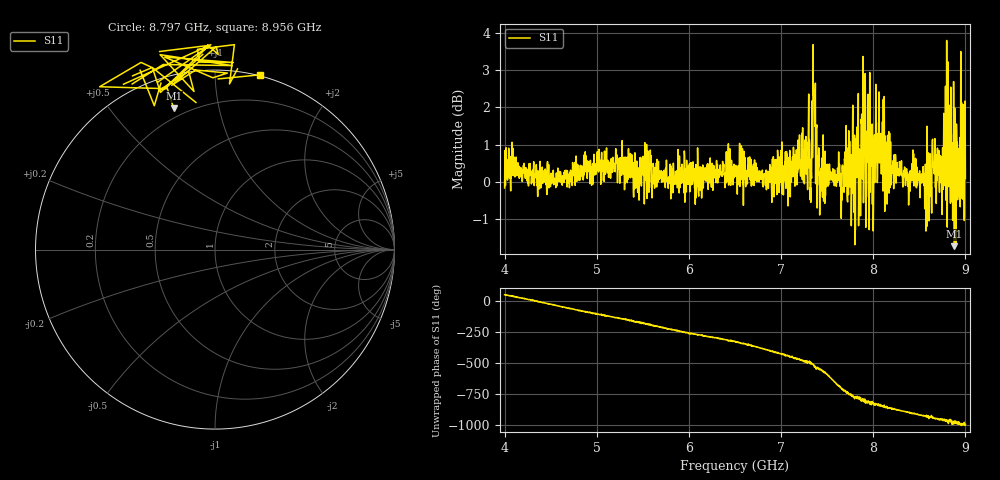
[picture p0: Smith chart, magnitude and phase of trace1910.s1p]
! Created with skrf 1.8.0 (http://scikit-rf.org).
# Hz S RI R 50.0
!freq ReS11 ImS11
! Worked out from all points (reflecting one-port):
!   1601 points, 4 GHz to 9 GHz, reference 50 ohm
!   lowest |S11| = -1.7 dB at 8.881 GHz (marker M1), VSWR 10.13, Z = 7.66 + j36.9 ohm
!   phase of S11 starts at 50 deg and turns -1046 deg over the sweep
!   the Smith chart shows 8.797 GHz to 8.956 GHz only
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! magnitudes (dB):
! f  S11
! 4 GHz  -0.2
! 4.066 GHz  -0.2
! 4.625 GHz  -0.1
! 5.25 GHz  0.0
! 5.875 GHz  -0.2
! 6.5 GHz  0.4
! 7.125 GHz  0.7
! 7.284 GHz  0.5
! 7.306 GHz  1.1
! 7.359 GHz  2.4
! 7.4 GHz  0.2
! 7.438 GHz  -0.2
! 7.75 GHz  -0.1
! 7.788 GHz  0.6
! 7.878 GHz  0.5
! 7.891 GHz  1.2
! 7.981 GHz  0.5
! 8.097 GHz  0.6
! 8.209 GHz  0.3
! 8.375 GHz  0.0
! 8.441 GHz  -0.1
! 8.584 GHz  1.5
! 8.662 GHz  0.2
! 8.738 GHz  0.7
! 8.822 GHz  2.1
! 8.881 GHz  -1.7
! 8.959 GHz  2.1
! 9 GHz  0.1
